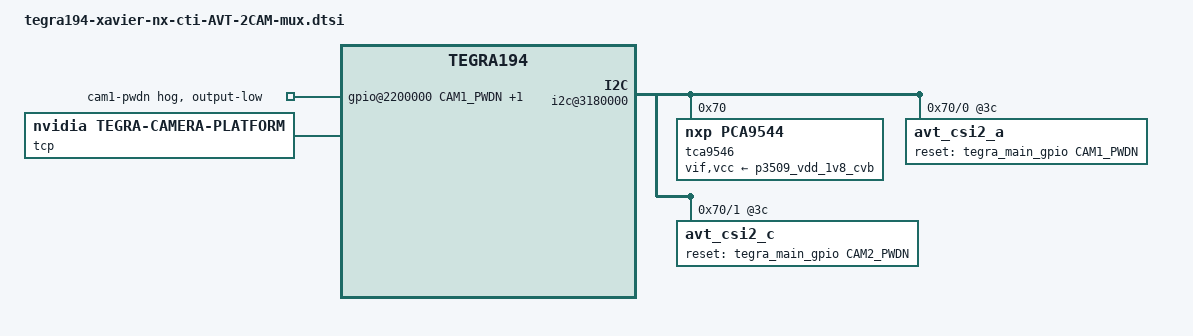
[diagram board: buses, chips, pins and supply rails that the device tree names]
#include "tegra194-cti-camera-2cam-AVT-header.dtsi"
#include "tegra194-xavier-nx-cti-AVT-modes.dtsi"
#include "tegra194-cti-camera-2cam-base.dtsi"

#define CAM1_PWDN	TEGRA194_MAIN_GPIO(P, 4)
#define CAM2_PWDN	TEGRA194_MAIN_GPIO(P, 5)
#define CAMERA_I2C_MUX_BUS(x) (0x1E + x)

/ {
	gpio@2200000 {
		camera-control-output-low {
			gpio-hog;
			output-low;
			gpios = <CAM1_PWDN 0 CAM2_PWDN 0>;
			label = "cam1-pwdn","cam2-pwdn";
		};
	};
	
	i2c@3180000 {
		tca9546@70 {
			compatible = "nxp,pca9544";
			reg = <0x70>;
			#address-cells = <1>;
			#size-cells = <0>;			
			//skip_mux_detect = "yes";
			vif-supply = <&p3509_vdd_1v8_cvb>;
			vcc-supply = <&p3509_vdd_1v8_cvb>;
			vcc_lp = "vcc";			
			
			i2c@0 {
				reg = <0>;
				i2c-mux,deselect-on-exit;
				avt_csi2_a@3c {
					clocks = <&bpmp_clks TEGRA194_CLK_EXTPERIPH1>,
							 <&bpmp_clks TEGRA194_CLK_PLLP_OUT0>;
					clock-names = "extperiph1", "pllp_grtba";
					mclk = "extperiph1";
					reset-gpios = <&tegra_main_gpio CAM1_PWDN GPIO_ACTIVE_HIGH>;
				};
			};
			
			i2c@1 {
				reg = <1>;
				i2c-mux,deselect-on-exit;
				avt_csi2_c@3c {
					clocks = <&bpmp_clks TEGRA194_CLK_EXTPERIPH1>,
							 <&bpmp_clks TEGRA194_CLK_PLLP_OUT0>;
					clock-names = "extperiph1", "pllp_grtba";
					mclk = "extperiph1";
					reset-gpios = <&tegra_main_gpio CAM2_PWDN GPIO_ACTIVE_HIGH>;
				};
			};
		};
	};
			
	tcp: tegra-camera-platform {
		compatible = "nvidia, tegra-camera-platform";

		/**
		* Physical settings to calculate max ISO BW
		*
		* num_csi_lanes = <>;
		* Total number of CSI lanes when all cameras are active
		*
		* max_lane_speed = <>;
		* Max lane speed in Kbit/s
		*
		* min_bits_per_pixel = <>;
		* Min bits per pixel
		*
		* vi_peak_byte_per_pixel = <>;
		* Max byte per pixel for the VI ISO case
		*
		* vi_bw_margin_pct = <>;
		* Vi bandwidth margin in percentage
		*
		* max_pixel_rate = <>;
		* Max pixel rate in Kpixel/s for the ISP ISO case
		*
		* isp_peak_byte_per_pixel = <>;
		* Max byte per pixel for the ISP ISO case
		*
		* isp_bw_margin_pct = <>;
		* Isp bandwidth margin in percentage
		*/
		num_csi_lanes = <4>;
		max_lane_speed = <1500000>;
		min_bits_per_pixel = <10>;
		vi_peak_byte_per_pixel = <2>;
		vi_bw_margin_pct = <25>;
		max_pixel_rate = <160000>;
		isp_peak_byte_per_pixel = <5>;
		isp_bw_margin_pct = <25>;
	};
};
